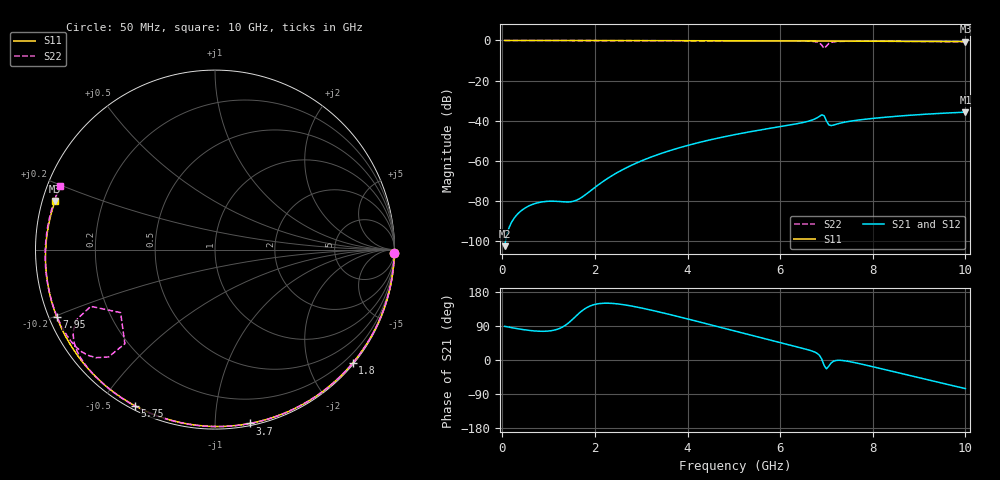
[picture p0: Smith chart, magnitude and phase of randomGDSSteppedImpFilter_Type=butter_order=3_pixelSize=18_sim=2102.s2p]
! freq	dB(S11)	phase(S11)	dB(S12)	phase(S12)
!  dB(S21)	phase(S21)	dB(S22)	phase(S22)
!S-par simulation data
#  GHz  S  DB  R 50
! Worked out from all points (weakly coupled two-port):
!   200 points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, 50 MHz to 10 GHz, reference 50 ohm
!   highest |S21| = -35.74 dB at 10 GHz (marker M1); lowest = -102.5 dB at 50 MHz (marker M2)
!   lowest |S11| = -0.6 dB at 10 GHz (marker M3), VSWR 28.05, Z = 1.82 + j7.43 ohm
!   |S11| at or under -10 dB: nowhere
!   |S22| runs from -4.0 to 0.0 dB; largest |S21 - S12| = 0
!   S11 on the Smith chart (normalised r, x): 50 MHz: open; 1.8 GHz: 0.03, -2.78; 3.7 GHz: 0.02, -1.22; 5.75 GHz: 0.02, -0.61; 7.95 GHz: 0.02, -0.20; 10 GHz: 0.04, +0.15
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0.05  -0.00 -1.1  -102.52 88.8  -102.52 88.8  -0.00 -1.1
0.8  -0.02 -17.8  -80.70 75.9  -80.70 75.9  -0.02 -18.8
1.55  -0.04 -34.2  -80.03 111.0  -80.03 111.0  -0.05 -36.0
1.75  -0.05 -38.5  -77.63 132.5  -77.63 132.5  -0.05 -40.5
1.8  -0.05 -39.6  -76.79 136.5  -76.79 136.5  -0.05 -41.6
2.55  -0.07 -55.4  -64.98 147.1  -64.98 147.1  -0.07 -58.2
3.4  -0.10 -72.7  -56.55 126.4  -56.55 126.4  -0.10 -76.3
3.7  -0.11 -78.6  -54.32 117.6  -54.32 117.6  -0.11 -82.4
5.05  -0.16 -104.3  -46.80 75.6  -46.80 75.6  -0.17 -109.3
5.75  -0.20 -117.2  -43.90 53.6  -43.90 53.6  -0.21 -123.0
6.7  -0.26 -134.3  -39.58 23.2  -39.58 23.2  -0.46 -145.1
6.85  -0.27 -137.0  -37.77 12.1  -37.77 12.1  -1.24 -153.1
6.9  -0.27 -137.9  -37.05 2.1  -37.05 2.1  -2.37 -155.5
6.95  -0.28 -138.8  -37.50 -14.5  -37.50 -14.5  -3.98 -146.3
7  -0.28 -139.7  -40.10 -23.3  -40.10 -23.3  -2.78 -133.8
7.05  -0.29 -140.6  -42.06 -16.3  -42.06 -16.3  -1.50 -134.7
7.1  -0.29 -141.5  -42.42 -8.0  -42.42 -8.0  -0.95 -137.8
7.25  -0.30 -144.2  -41.49 -0.7  -41.49 -0.7  -0.51 -144.4
7.95  -0.37 -157.0  -38.97 -16.3  -38.97 -16.3  -0.40 -160.8
8.35  -0.41 -164.4  -38.09 -27.8  -38.09 -27.8  -0.43 -168.8
9.2  -0.51 179.3  -36.68 -52.6  -36.68 -52.6  -0.52 174.3
10  -0.62 163.1  -35.74 -75.5  -35.74 -75.5  -0.61 157.6
